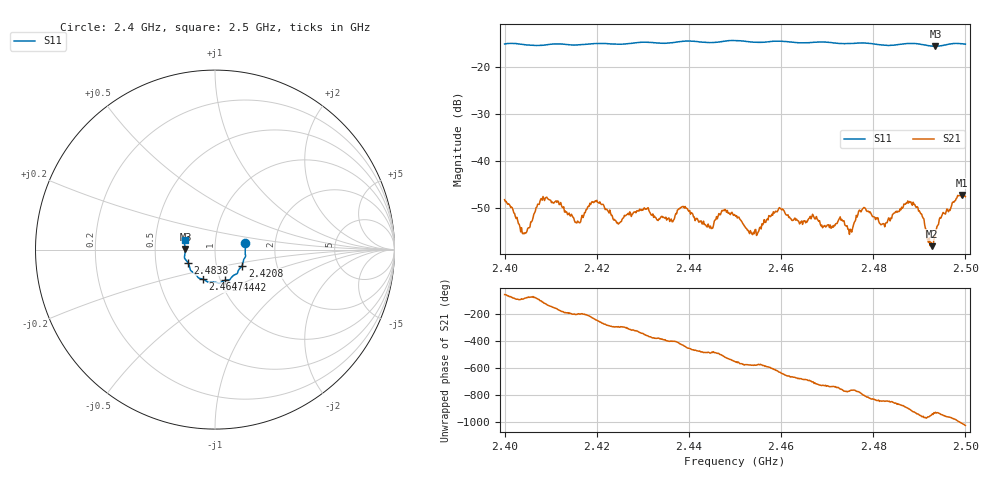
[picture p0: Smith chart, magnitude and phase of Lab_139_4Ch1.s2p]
# Hz S RI R 50
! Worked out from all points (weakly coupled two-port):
!   601 points, 2.4 GHz to 2.5 GHz, reference 50 ohm
!   highest |S21| = -47.27 dB at 2.4993 GHz (marker M1); lowest = -58.2 dB at 2.4927 GHz (marker M2)
!   lowest |S11| = -15.7 dB at 2.4935 GHz (marker M3), VSWR 1.39, Z = 35.9 + j0.144 ohm
!   |S11| at or under -10 dB: start of sweep to end of sweep
!   S12 and S22 are empty: the file has one direction only
!   S11 on the Smith chart (normalised r, x): 2.4 GHz: 1.40, +0.11; 2.4208 GHz: 1.33, -0.25; 2.4442 GHz: 1.05, -0.37; 2.4647 GHz: 0.83, -0.28; 2.4838 GHz: 0.73, -0.11; 2.5 GHz: 0.71, +0.08
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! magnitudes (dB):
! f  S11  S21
! 2.4 GHz  -15.2  -48.3
! 2.4043 GHz  -15.3  -55.5
! 2.4088 GHz  -15.4  -47.9
! 2.4167 GHz  -15.3  -52.2
! 2.4208 GHz  -15.1  -49.1
! 2.4247 GHz  -15.2  -53.5
! 2.4333 GHz  -15.0  -52.7
! 2.4388 GHz  -14.6  -49.7
! 2.4442 GHz  -14.9  -53.5
! 2.45 GHz  -14.4  -51.6
! 2.4537 GHz  -14.8  -55.6
! 2.4598 GHz  -14.6  -50.2
! 2.4647 GHz  -15.0  -53.5
! 2.4667 GHz  -14.9  -51.9
! 2.475 GHz  -15.1  -54.6
! 2.4833 GHz  -15.5  -52.2
! 2.4838 GHz  -15.5  -52.2
! 2.4885 GHz  -15.1  -49.5
! 2.4927 GHz  -15.6  -58.2
! 2.4935 GHz  -15.7  -55.4
! 2.4993 GHz  -15.2  -47.3
! 2.5 GHz  -15.2  -47.6
